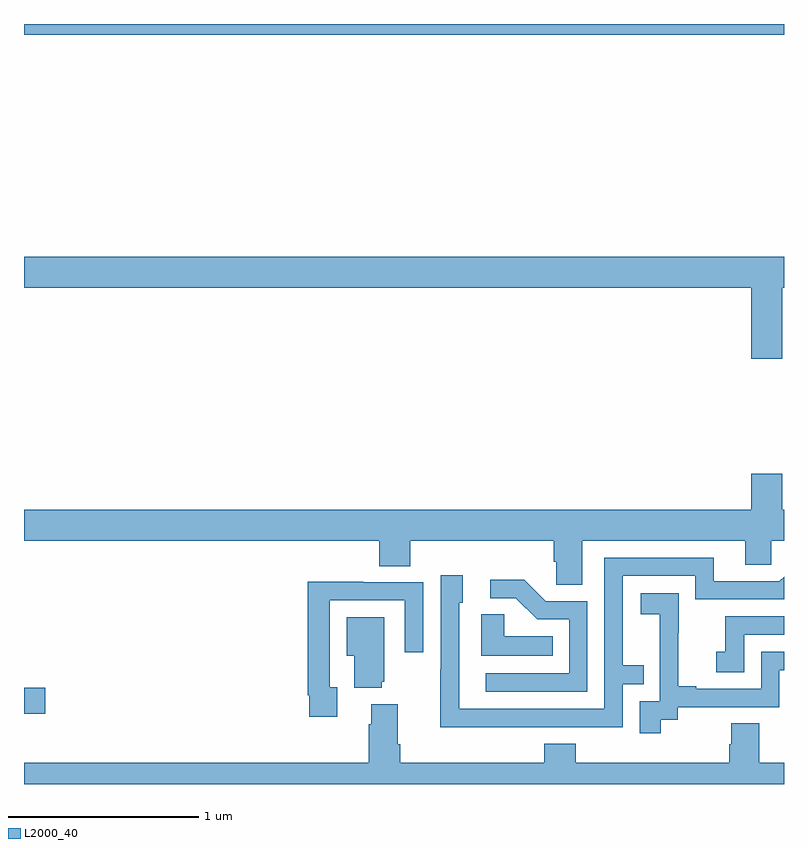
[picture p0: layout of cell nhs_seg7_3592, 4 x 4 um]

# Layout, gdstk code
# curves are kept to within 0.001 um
import gdstk
lib = gdstk.Library(unit=1e-6, precision=1e-09)
def R(c, l, rs):  # rectangles x0, y0, x1, y1
    for r in rs: c.add(gdstk.rectangle(r[:2], r[2:], *l))
def P(c, l, *ps):  # polygons
    for p in ps: c.add(gdstk.Polygon(p, *l))
L2000_40 = (2000, 40)

nhs_seg7_3592 = lib.new_cell('nhs_seg7_3592')
R(nhs_seg7_3592, L2000_40, [(341,1002.371,341.113,1002.506), (341,1005.944,345,1006)])
P(nhs_seg7_3592, L2000_40, [(344.992,1004.612),(345,1004.612),(345,1004.776),(341,1004.776),(341,1004.612),(344.828,1004.612),(344.828,1004.238),(344.992,1004.238)],
  [(343.939,1003.28),(344.795,1003.28),(344.795,1003.153),(344.934,1003.153),(344.934,1003.28),(345,1003.28),(345,1003.444),(344.992,1003.444),(344.992,1003.633),(344.828,1003.633),(344.828,1003.444),(341,1003.444),(341,1003.28),(342.869,1003.28),(342.869,1003.147),(343.034,1003.147),(343.034,1003.28),(343.787,1003.28),(343.787,1003.171),(343.8,1003.171),(343.8,1003.048),(343.939,1003.048)],
  [(343.655,1002.3),(344.151,1002.3),(344.151,1002.525),(344.261,1002.525),(344.261,1002.626),(344.151,1002.626),(344.151,1003.095),(344.532,1003.095),(344.532,1002.972),(345,1002.972),(345,1003.092),(344.976,1003.068),(344.629,1003.068),(344.629,1003.191),(344.055,1003.191),(344.055,1002.396),(343.29,1002.396),(343.29,1002.954),(343.309,1002.954),(343.309,1003.099),(343.194,1003.099),(343.194,1002.605),(343.192,1002.605),(343.192,1002.299)],
  [(343.965,1002.963),(343.746,1002.963),(343.633,1003.076),(343.455,1003.076),(343.455,1002.978),(343.589,1002.978),(343.7,1002.867),(343.869,1002.867),(343.869,1002.582),(343.431,1002.582),(343.431,1002.486),(343.965,1002.486)],
  [(342.649,1002.51),(342.609,1002.51),(342.609,1002.966),(343.005,1002.966),(343.005,1002.693),(343.101,1002.693),(343.101,1003.062),(342.785,1003.062),(342.785,1003.064),(342.493,1003.064),(342.493,1002.466),(342.501,1002.466),(342.501,1002.354),(342.649,1002.354)],
  [(344.35,1002.337),(344.442,1002.337),(344.442,1002.405),(344.976,1002.405),(344.976,1002.6),(345,1002.6),(345,1002.696),(344.88,1002.696),(344.88,1002.501),(344.539,1002.501),(344.539,1002.514),(344.444,1002.514),(344.444,1002.797),(344.445,1002.797),(344.445,1003.003),(344.247,1003.003),(344.247,1002.893),(344.345,1002.893),(344.345,1002.665),(344.346,1002.665),(344.346,1002.435),(344.241,1002.435),(344.241,1002.267),(344.35,1002.267)],
  [(343.784,1002.778),(343.527,1002.778),(343.527,1002.893),(343.406,1002.893),(343.406,1002.674),(343.784,1002.674)],
  [(344.79,1002.786),(345,1002.786),(345,1002.882),(344.692,1002.882),(344.692,1002.697),(344.643,1002.697),(344.643,1002.588),(344.79,1002.588)],
  [(342.884,1002.537),(342.895,1002.537),(342.895,1002.877),(342.698,1002.877),(342.698,1002.674),(342.737,1002.674),(342.737,1002.506),(342.884,1002.506)],
  [(345,1002.112),(344.871,1002.112),(344.871,1002.32),(344.723,1002.32),(344.723,1002.21),(344.711,1002.21),(344.711,1002.112),(343.904,1002.112),(343.904,1002.211),(343.739,1002.211),(343.739,1002.112),(342.98,1002.112),(342.98,1002.208),(342.967,1002.208),(342.967,1002.421),(342.827,1002.421),(342.827,1002.314),(342.815,1002.314),(342.815,1002.112),(341,1002.112),(341,1002),(345,1002)])

lib.write_gds('nhs_seg7_3592.gds')
